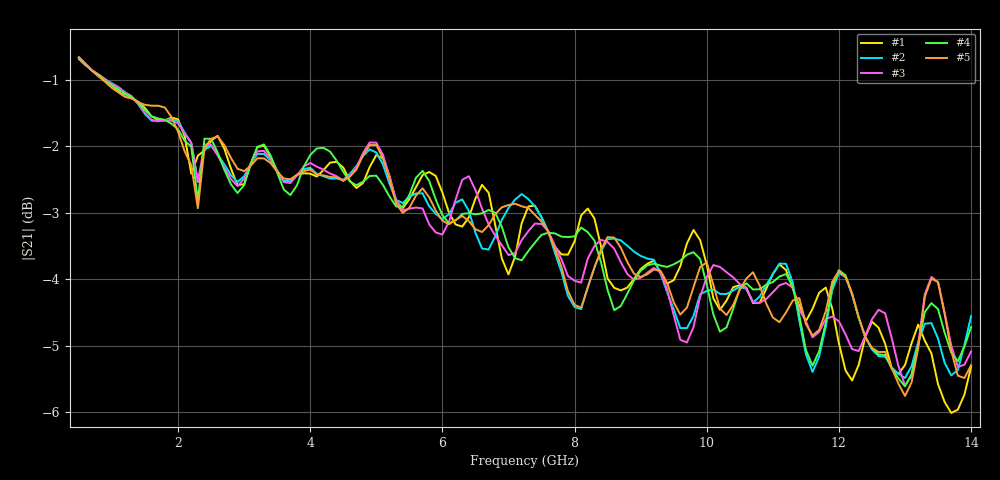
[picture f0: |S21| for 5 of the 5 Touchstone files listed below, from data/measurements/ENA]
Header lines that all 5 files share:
!Created with skrf (http://scikit-rf.org).
# GHz S RI R 50.0
!freq ReS11 ImS11 ReS21 ImS21 ReS12 ImS12 ReS22 ImS22
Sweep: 500 MHz to 14 GHz
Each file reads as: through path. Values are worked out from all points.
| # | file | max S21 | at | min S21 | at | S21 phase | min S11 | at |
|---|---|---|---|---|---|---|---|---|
| 1 | line_000mm.s2p | -0.69 dB | 500 MHz | -6.0 dB | 13.7 GHz | 80 deg at 7.3 GHz | -21.3 dB | 7.3 GHz |
| 2 | line_081mm.s2p | -0.67 dB | 500 MHz | -5.5 dB | 13 GHz | 79 deg at 7.3 GHz | -30.0 dB | 6 GHz |
| 3 | line_084mm.s2p | -0.67 dB | 500 MHz | -5.6 dB | 13 GHz | 81 deg at 7.3 GHz | -31.7 dB | 4 GHz |
| 4 | line_093mm.s2p | -0.66 dB | 500 MHz | -5.6 dB | 13 GHz | 83 deg at 7.3 GHz | -26.5 dB | 5.3 GHz |
| 5 | line_117mm.s2p | -0.66 dB | 500 MHz | -5.8 dB | 13 GHz | 80 deg at 7.3 GHz | -26.5 dB | 8.8 GHz |
